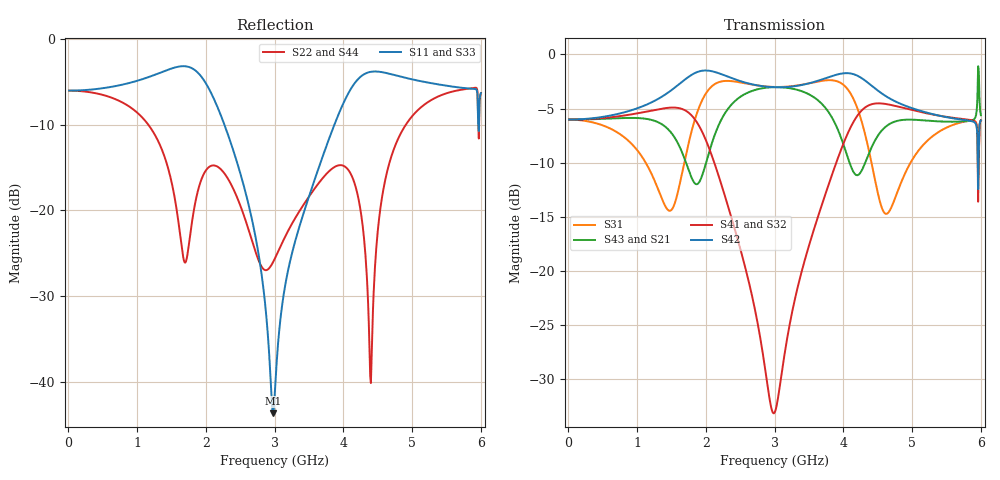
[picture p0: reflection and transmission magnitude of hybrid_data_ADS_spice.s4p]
! Created Mon Dec 11 02:30:20 2023
# hz S ri R 50
! 4 Port Network Data from SP1.SP block
! freq  reS11  imS11  reS12  imS12  reS13  imS13  reS14  imS14
!  reS21  imS21  reS22  imS22  reS23  imS23  reS24  imS24
!  reS31  imS31  reS32  imS32  reS33  imS33  reS34  imS34
!  reS41  imS41  reS42  imS42  reS43  imS43  reS44  imS44
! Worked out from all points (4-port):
!   600 points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, 10 MHz to 6 GHz, reference 50 ohm
!   strongest paths, dB at 10 MHz, 1.51 GHz, 3.01 GHz, 4.51 GHz, 6 GHz:
!     S42: -6.0, -3.2, -3.0, -3.4, -6.1
!     S41: -6.0, -4.9, -32.9, -4.5, -6.1
!     S32: -6.0, -4.9, -32.9, -4.5, -6.1
!     S43: -6.0, -7.4, -3.0, -7.4, -5.6
!     S21: -6.0, -7.4, -3.0, -7.4, -5.6
!     S31: -6.0, -14.3, -3.0, -13.1, -6.1
!   lowest |S11| = -43.7 dB at 2.98 GHz (marker M1), VSWR 1.01, Z = 49.4 + j0.241 ohm
!   |S11| at or under -10 dB: 2.269 GHz to 3.869 GHz (1.6 GHz wide, 52.1 % of centre); 5.962934 GHz to 5.972098 GHz (9.164 MHz wide, 0.154 % of centre)
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1e7  -0.5 0.00337  0.5 -0.00387  0.5 -0.0052  0.4999 -0.0075
     0.5 -0.00387  -0.5 0.00574  0.4999 -0.0075  0.4999 -0.00757
     0.5 -0.0052  0.4999 -0.0075  -0.5 0.00337  0.5 -0.00387
     0.4999 -0.0075  0.4999 -0.00757  0.5 -0.00387  -0.5 0.00574
1.9e9  0.4724 0.4109  0.0972 -0.2371  0.4759 -0.3116  -0.3984 0.245
       0.0972 -0.2371  -0.1098 0.0828  -0.3984 0.245  -0.832 0.0664
       0.4759 -0.3116  -0.3984 0.245  0.4724 0.4109  0.0972 -0.2371
       -0.3984 0.245  -0.832 0.0664  0.0972 -0.2371  -0.1098 0.0828
2.98e9  -0.00606 0.00244  -0.4451 -0.5481  -0.4451 -0.5503  0.0182 -0.0123
        -0.4451 -0.5481  -0.0376 0.0331  0.0182 -0.0123  0.4461 0.5473
        -0.4451 -0.5503  0.0182 -0.0123  -0.00606 0.00244  -0.4451 -0.5481
        0.0182 -0.0123  0.4461 0.5473  -0.4451 -0.5481  -0.0376 0.0331
4.15e9  -0.2616 -0.4757  -0.2651 0.1051  -0.401 0.4723  -0.2972 0.3896
        -0.2651 0.1051  0.00263 0.1488  -0.2972 0.3896  0.0783 -0.8064
        -0.401 0.4723  -0.2972 0.3896  -0.2616 -0.4757  -0.2651 0.1051
        -0.2972 0.3896  0.0783 -0.8064  -0.2651 0.1051  0.00263 0.1488
4.4e9  -0.6149 -0.1919  -0.3649 0.029  -0.1017 0.3095  0.0551 0.5847
       -0.3649 0.029  0.00573 -0.00796  0.0551 0.5847  -0.3367 -0.6385
       -0.1017 0.3095  0.0551 0.5847  -0.6149 -0.1919  -0.3649 0.029
       0.0551 0.5847  -0.3367 -0.6385  -0.3649 0.029  0.00573 -0.00796
4.79e9  -0.5319 0.2979  -0.4282 0.2459  -0.21 0.1016  0.497 0.2882
        -0.4282 0.2459  -0.2581 0.0133  0.497 0.2882  -0.5608 -0.2116
        -0.21 0.1016  0.497 0.2882  -0.5319 0.2979  -0.4282 0.2459
        0.497 0.2882  -0.5608 -0.2116  -0.4282 0.2459  -0.2581 0.0133
6e9  0.0298 0.4826  0.1533 0.5011  -0.0703 0.4907  0.0725 -0.4906
     0.1533 0.5011  0.0253 0.4824  0.0725 -0.4906  -0.0748 0.4905
     -0.0703 0.4907  0.0725 -0.4906  0.0298 0.4826  0.1533 0.5011
     0.0725 -0.4906  -0.0748 0.4905  0.1533 0.5011  0.0253 0.4824
